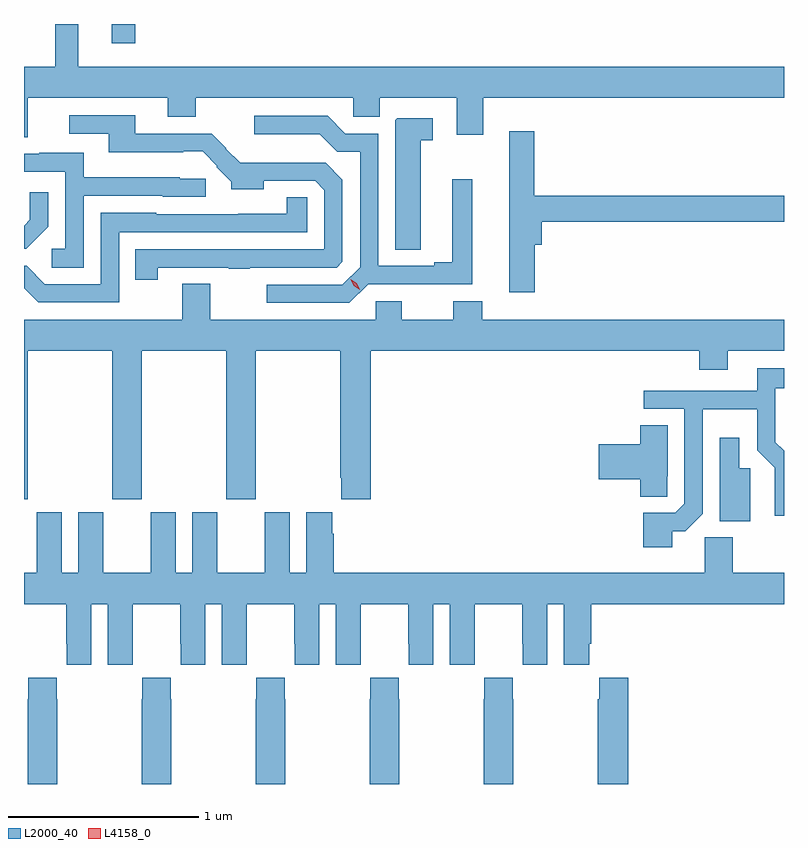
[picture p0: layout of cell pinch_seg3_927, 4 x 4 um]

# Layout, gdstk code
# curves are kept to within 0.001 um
import gdstk
lib = gdstk.Library(unit=1e-6, precision=1e-09)
def R(c, l, rs):  # rectangles x0, y0, x1, y1
    for r in rs: c.add(gdstk.rectangle(r[:2], r[2:], *l))
def P(c, l, *ps):  # polygons
    for p in ps: c.add(gdstk.Polygon(p, *l))
L2000_40 = (2000, 40)
L4158_0 = (4158, 0)

pinch_seg3_927 = lib.new_cell('pinch_seg3_927')
R(pinch_seg3_927, L2000_40, [(840.557,702.537,840.679,702.637)])
P(pinch_seg3_927, L2000_40, [(840.115,702.248),(840.851,702.248),(840.851,702.149),(840.999,702.149),(840.999,702.248),(841.827,702.248),(841.827,702.15),(841.966,702.15),(841.966,702.248),(842.372,702.248),(842.372,702.054),(842.512,702.054),(842.512,702.248),(844.094,702.248),(844.094,702.412),(840.379,702.412),(840.379,702.637),(840.258,702.637),(840.258,702.412),(840.094,702.412),(840.094,702.04),(840.115,702.04)],
  [(840.798,701.355),(841.171,701.355),(841.171,701.35),(841.283,701.35),(841.283,701.355),(841.74,701.355),(841.77,701.385),(841.77,701.817),(841.681,701.906),(841.565,701.906),(841.565,701.908),(841.231,701.908),(841.157,701.981),(841.159,701.983),(841.083,702.06),(840.679,702.06),(840.679,702.156),(840.333,702.156),(840.333,702.06),(840.539,702.06),(840.539,701.963),(840.932,701.963),(840.932,701.966),(841.034,701.966),(841.11,701.889),(841.107,701.886),(841.186,701.808),(841.186,701.768),(841.357,701.768),(841.357,701.811),(841.626,701.811),(841.674,701.763),(841.674,701.451),(840.679,701.451),(840.679,701.292),(840.798,701.292)],
  [(841.906,701.268),(842.452,701.268),(842.452,701.821),(842.348,701.821),(842.348,701.384),(842.252,701.384),(842.252,701.364),(841.959,701.364),(841.959,702.06),(841.785,702.06),(841.692,702.153),(841.305,702.153),(841.305,702.056),(841.651,702.056),(841.742,701.965),(841.863,701.965),(841.863,701.358),(841.77,701.265),(841.371,701.265),(841.371,701.169),(841.807,701.169)],
  [(842.182,702.025),(842.245,702.025),(842.245,702.141),(842.058,702.141),(842.048,702.131),(842.048,701.449),(842.182,701.449)],
  [(842.783,701.474),(842.819,701.474),(842.819,701.596),(844.094,701.596),(844.094,701.732),(842.78,701.732),(842.78,702.073),(842.648,702.073),(842.648,701.226),(842.783,701.226)],
  [(840.408,701.733),(840.825,701.733),(840.825,701.727),(841.05,701.727),(841.05,701.823),(840.915,701.823),(840.915,701.83),(840.409,701.83),(840.409,701.959),(840.173,701.959),(840.173,701.955),(840.094,701.955),(840.094,701.859),(840.312,701.859),(840.312,701.454),(840.24,701.454),(840.24,701.353),(840.408,701.353)],
  [(840.222,701.57),(840.222,701.752),(840.125,701.752),(840.125,701.607),(840.094,701.576),(840.094,701.454),(840.106,701.454)],
  [(840.594,701.541),(841.584,701.541),(841.584,701.726),(841.476,701.726),(841.476,701.638),(840.789,701.637),(840.789,701.644),(840.498,701.644),(840.498,701.268),(840.204,701.268),(840.108,701.364),(840.094,701.364),(840.094,701.246),(840.168,701.172),(840.594,701.172)],
  [(840.114,700.916),(840.559,700.916),(840.559,700.137),(840.714,700.137),(840.714,700.916),(841.159,700.916),(841.159,700.137),(841.314,700.137),(841.314,700.916),(841.759,700.916),(841.759,700.249),(841.763,700.249),(841.763,700.137),(841.919,700.137),(841.919,700.916),(843.647,700.916),(843.647,700.817),(843.799,700.817),(843.799,700.916),(844.094,700.916),(844.094,701.08),(842.507,701.08),(842.507,701.179),(842.354,701.179),(842.354,701.08),(842.083,701.08),(842.083,701.178),(841.944,701.178),(841.944,701.08),(841.075,701.08),(841.075,701.27),(840.928,701.27),(840.928,701.08),(840.094,701.08),(840.094,700.137),(840.114,700.137)],
  [(843.505,699.967),(843.573,699.967),(843.666,700.059),(843.666,700.61),(843.954,700.61),(843.954,700.394),(844.046,700.302),(844.046,700.196),(844.044,700.196),(844.044,700.05),(844.094,700.05),(844.094,700.39),(844.047,700.437),(844.047,700.721),(844.094,700.721),(844.094,700.825),(843.953,700.825),(843.953,700.707),(843.357,700.707),(843.357,700.611),(843.57,700.611),(843.57,700.113),(843.522,700.065),(843.353,700.065),(843.353,699.882),(843.505,699.882)],
  [(843.48,700.258),(843.481,700.258),(843.481,700.526),(843.338,700.526),(843.338,700.424),(843.12,700.424),(843.12,700.241),(843.338,700.241),(843.338,700.15),(843.48,700.15)],
  [(843.916,700.299),(843.859,700.299),(843.859,700.459),(843.755,700.459),(843.755,700.021),(843.916,700.021)],
  [(840.448,699.584),(840.536,699.584),(840.536,699.264),(840.666,699.264),(840.666,699.376),(840.667,699.376),(840.667,699.584),(840.917,699.584),(840.917,699.376),(840.918,699.376),(840.918,699.264),(841.048,699.264),(841.048,699.584),(841.136,699.584),(841.136,699.264),(841.266,699.264),(841.266,699.376),(841.267,699.376),(841.267,699.584),(841.517,699.584),(841.517,699.376),(841.518,699.376),(841.518,699.264),(841.648,699.264),(841.648,699.584),(841.736,699.584),(841.736,699.264),(841.866,699.264),(841.866,699.376),(841.867,699.376),(841.867,699.584),(842.117,699.584),(842.117,699.376),(842.118,699.376),(842.118,699.264),(842.248,699.264),(842.248,699.584),(842.336,699.584),(842.336,699.264),(842.466,699.264),(842.466,699.376),(842.467,699.376),(842.467,699.584),(842.717,699.584),(842.717,699.376),(842.718,699.376),(842.718,699.264),(842.848,699.264),(842.848,699.584),(842.936,699.584),(842.936,699.264),(843.07,699.264),(843.07,699.376),(843.08,699.376),(843.08,699.584),(844.094,699.584),(844.094,699.748),(843.825,699.748),(843.825,699.936),(843.678,699.936),(843.678,699.748),(841.724,699.748),(841.724,699.953),(841.717,699.953),(841.717,700.066),(841.58,700.066),(841.58,699.748),(841.492,699.748),(841.492,700.066),(841.361,700.066),(841.361,699.748),(841.111,699.748),(841.111,700.066),(840.98,700.066),(840.98,699.748),(840.892,699.748),(840.892,700.066),(840.761,700.066),(840.761,699.748),(840.511,699.748),(840.511,700.066),(840.38,700.066),(840.38,699.748),(840.292,699.748),(840.292,700.066),(840.161,700.066),(840.161,699.748),(840.094,699.748),(840.094,699.584),(840.317,699.584),(840.317,699.376),(840.318,699.376),(840.318,699.264),(840.448,699.264)],
  [(843.275,699.196),(843.121,699.196),(843.121,699.083),(843.115,699.083),(843.115,698.637),(843.275,698.637)],
  [(842.67,699.083),(842.667,699.083),(842.667,699.196),(842.517,699.196),(842.517,699.083),(842.515,699.083),(842.515,698.637),(842.67,698.637)],
  [(842.07,699.083),(842.067,699.083),(842.067,699.196),(841.917,699.196),(841.917,699.083),(841.915,699.083),(841.915,698.637),(842.07,698.637)],
  [(841.47,699.083),(841.467,699.083),(841.467,699.196),(841.317,699.196),(841.317,699.083),(841.315,699.083),(841.315,698.637),(841.47,698.637)],
  [(840.87,699.083),(840.867,699.083),(840.867,699.196),(840.717,699.196),(840.717,699.083),(840.715,699.083),(840.715,698.637),(840.87,698.637)],
  [(840.27,699.083),(840.267,699.083),(840.267,699.196),(840.117,699.196),(840.117,699.083),(840.115,699.083),(840.115,698.637),(840.27,698.637)])
P(pinch_seg3_927, L4158_0, [(841.861,701.238),(841.83,701.259),(841.814,701.293),(841.814,701.293),(841.814,701.293),(841.845,701.272),(841.862,701.239),(841.862,701.238)])

lib.write_gds('pinch_seg3_927.gds')
